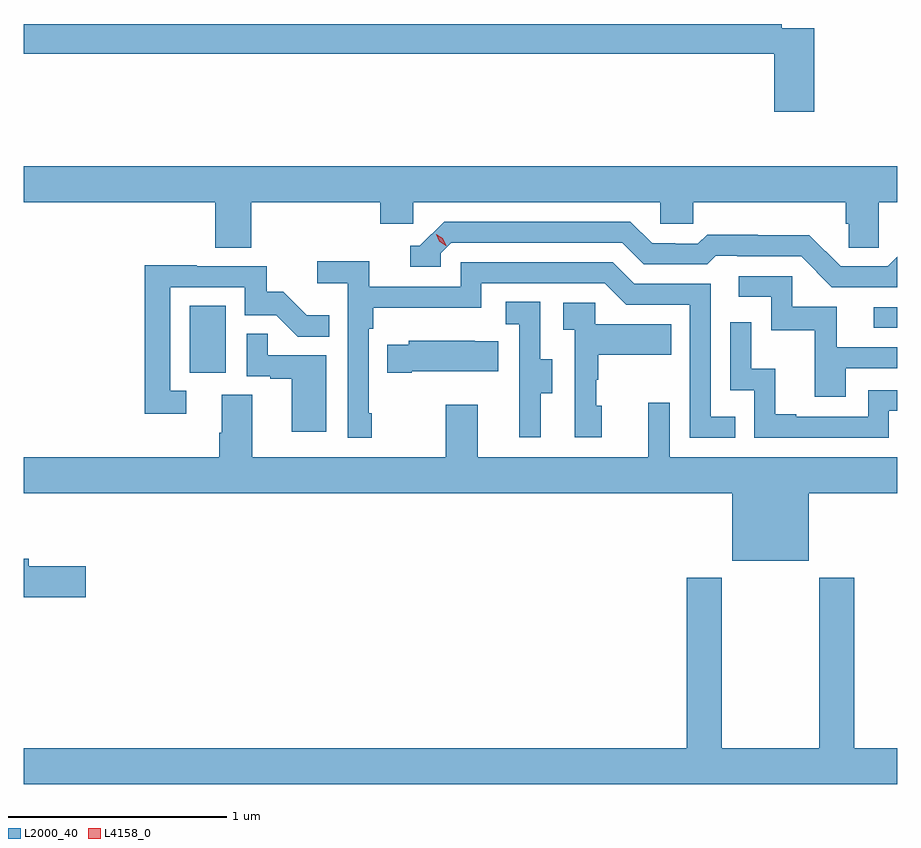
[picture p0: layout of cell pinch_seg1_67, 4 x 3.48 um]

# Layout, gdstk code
import gdstk
lib = gdstk.Library(unit=1e-6, precision=1e-09)
def R(c, l, rs):  # rectangles x0, y0, x1, y1
    for r in rs: c.add(gdstk.rectangle(r[:2], r[2:], *l))
def P(c, l, *ps):  # polygons
    for p in ps: c.add(gdstk.Polygon(p, *l))
L2000_40 = (2000, 40)
L4158_0 = (4158, 0)

pinch_seg1_67 = lib.new_cell('pinch_seg1_67')
R(pinch_seg1_67, L2000_40, [(1019.354,574.926,1019.518,575.233), (1022.487,575.133,1022.594,575.226)])
P(pinch_seg1_67, L2000_40, [(1022.213,576.504),(1022.066,576.504),(1022.066,576.524),(1018.594,576.524),(1018.594,576.388),(1022.03,576.388),(1022.03,576.123),(1022.213,576.123)],
  [(1019.636,575.708),(1020.227,575.708),(1020.227,575.61),(1020.378,575.61),(1020.378,575.708),(1021.509,575.708),(1021.509,575.61),(1021.659,575.61),(1021.659,575.708),(1022.357,575.708),(1022.357,575.61),(1022.371,575.61),(1022.371,575.5),(1022.508,575.5),(1022.508,575.708),(1022.594,575.708),(1022.594,575.872),(1018.594,575.872),(1018.594,575.708),(1019.471,575.708),(1019.471,575.5),(1019.636,575.5)],
  [(1022.594,575.459),(1022.55,575.415),(1022.334,575.415),(1022.192,575.557),(1021.956,575.557),(1021.956,575.56),(1021.723,575.56),(1021.681,575.517),(1021.578,575.517),(1021.578,575.52),(1021.471,575.52),(1021.372,575.619),(1020.519,575.619),(1020.408,575.508),(1020.365,575.508),(1020.365,575.412),(1020.504,575.412),(1020.504,575.475),(1020.552,575.523),(1021.335,575.523),(1021.434,575.424),(1021.723,575.424),(1021.762,575.463),(1021.861,575.463),(1021.861,575.46),(1022.154,575.46),(1022.295,575.319),(1022.594,575.319)],
  [(1020.187,574.741),(1020.174,574.741),(1020.174,575.129),(1020.194,575.129),(1020.194,575.225),(1020.69,575.225),(1020.69,575.337),(1021.254,575.337),(1021.353,575.238),(1021.644,575.238),(1021.644,574.629),(1021.853,574.629),(1021.853,574.725),(1021.74,574.725),(1021.74,575.334),(1021.39,575.334),(1021.291,575.433),(1020.594,575.433),(1020.594,575.322),(1020.176,575.322),(1020.176,575.438),(1019.937,575.438),(1019.937,575.336),(1020.078,575.336),(1020.078,574.629),(1020.187,574.629)],
  [(1019.338,574.845),(1019.265,574.845),(1019.265,575.319),(1019.607,575.319),(1019.607,575.19),(1019.751,575.19),(1019.849,575.092),(1019.993,575.092),(1019.993,575.191),(1019.889,575.191),(1019.782,575.298),(1019.706,575.298),(1019.706,575.415),(1019.387,575.415),(1019.387,575.42),(1019.149,575.42),(1019.149,574.74),(1019.338,574.74)],
  [(1022.359,574.947),(1022.594,574.947),(1022.594,575.043),(1022.317,575.043),(1022.317,575.229),(1022.112,575.229),(1022.112,575.37),(1021.869,575.37),(1021.869,575.274),(1022.016,575.274),(1022.016,575.121),(1022.215,575.121),(1022.215,574.818),(1022.359,574.818)],
  [(1020.961,574.834),(1021.015,574.834),(1021.015,574.989),(1020.96,574.989),(1020.96,575.252),(1020.801,575.252),(1020.801,575.149),(1020.864,575.149),(1020.864,574.845),(1020.863,574.845),(1020.863,574.632),(1020.961,574.632)],
  [(1021.24,574.776),(1021.215,574.776),(1021.215,574.895),(1021.225,574.895),(1021.225,575.009),(1021.559,575.009),(1021.559,575.149),(1021.212,575.149),(1021.212,575.247),(1021.065,575.247),(1021.065,575.123),(1021.116,575.123),(1021.116,574.632),(1021.24,574.632)],
  [(1022.556,574.752),(1022.594,574.752),(1022.594,574.848),(1022.46,574.848),(1022.46,574.725),(1022.131,574.725),(1022.131,574.738),(1022.036,574.738),(1022.036,574.946),(1021.926,574.946),(1021.926,575.158),(1021.83,575.158),(1021.83,574.848),(1021.938,574.848),(1021.938,574.629),(1022.556,574.629)],
  [(1019.98,575.007),(1019.711,575.007),(1019.711,575.105),(1019.616,575.105),(1019.616,574.911),(1019.723,574.911),(1019.723,574.899),(1019.822,574.899),(1019.822,574.656),(1019.98,574.656)],
  [(1020.37,574.934),(1020.767,574.934),(1020.767,575.071),(1020.659,575.071),(1020.659,575.074),(1020.357,575.074),(1020.357,575.056),(1020.259,575.056),(1020.259,574.927),(1020.37,574.927)],
  [(1022.188,574.376),(1022.594,574.376),(1022.594,574.54),(1021.551,574.54),(1021.551,574.789),(1021.454,574.789),(1021.454,574.54),(1020.673,574.54),(1020.673,574.78),(1020.526,574.78),(1020.526,574.54),(1019.641,574.54),(1019.641,574.826),(1019.501,574.826),(1019.501,574.652),(1019.489,574.652),(1019.489,574.54),(1018.594,574.54),(1018.594,574.376),(1021.838,574.376),(1021.838,574.067),(1022.188,574.067)],
  [(1018.879,574.041),(1018.618,574.041),(1018.618,574.075),(1018.594,574.075),(1018.594,573.899),(1018.879,573.899)],
  [(1022.594,573.208),(1022.396,573.208),(1022.396,573.988),(1022.236,573.988),(1022.236,573.208),(1021.791,573.208),(1021.791,573.988),(1021.631,573.988),(1021.631,573.208),(1018.594,573.208),(1018.594,573.044),(1022.594,573.044)])
P(pinch_seg1_67, L4158_0, [(1020.527,575.509),(1020.497,575.529),(1020.482,575.562),(1020.482,575.562),(1020.482,575.562),(1020.512,575.542),(1020.528,575.509),(1020.528,575.509)])

lib.write_gds('pinch_seg1_67.gds')
